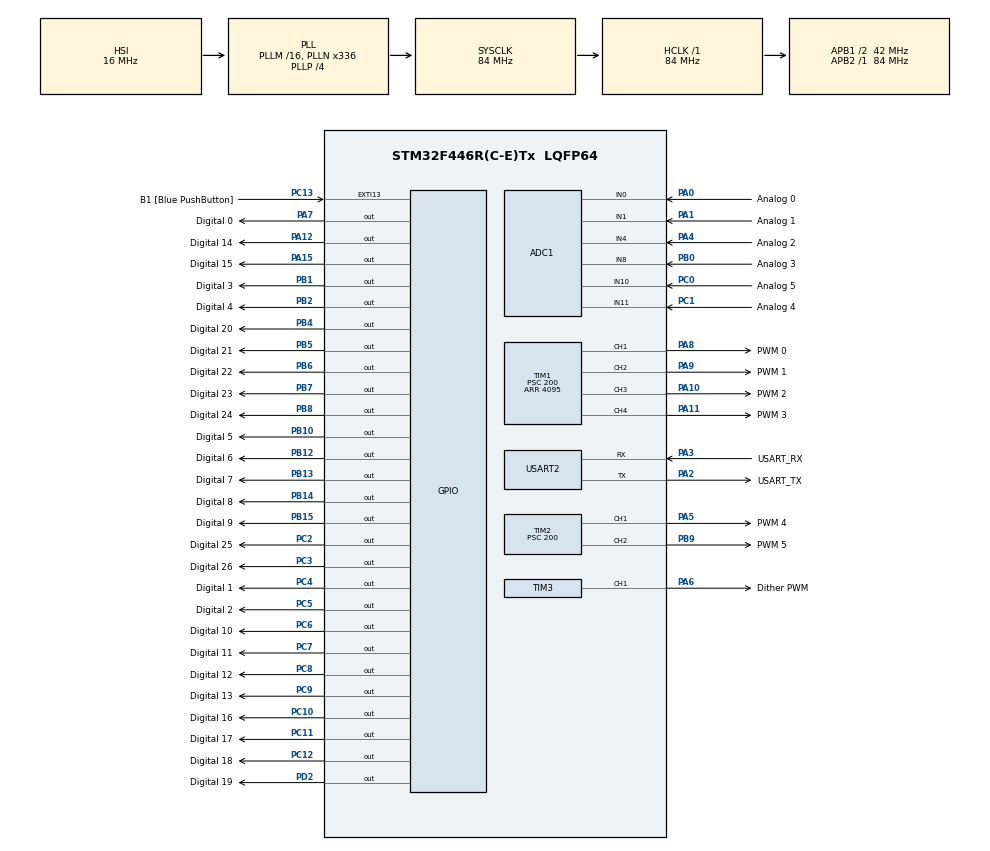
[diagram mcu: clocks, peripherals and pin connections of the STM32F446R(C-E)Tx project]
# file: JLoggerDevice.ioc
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ADC1.Channel-0\#ChannelRegularConversion=ADC_CHANNEL_0
ADC1.Channel-1\#ChannelRegularConversion=ADC_CHANNEL_1
ADC1.Channel-2\#ChannelRegularConversion=ADC_CHANNEL_4
ADC1.Channel-3\#ChannelRegularConversion=ADC_CHANNEL_8
ADC1.Channel-4\#ChannelRegularConversion=ADC_CHANNEL_11
ADC1.Channel-5\#ChannelRegularConversion=ADC_CHANNEL_10
ADC1.ClockPrescaler=ADC_CLOCK_SYNC_PCLK_DIV6
ADC1.ContinuousConvMode=DISABLE
ADC1.DMAContinuousRequests=ENABLE
ADC1.EOCSelection=ADC_EOC_SINGLE_CONV
ADC1.ExternalTrigConv=ADC_EXTERNALTRIGCONV_T8_TRGO
ADC1.NbrOfConversion=6
ADC1.NbrOfConversionFlag=1
ADC1.Rank-0\#ChannelRegularConversion=1
ADC1.Rank-1\#ChannelRegularConversion=2
ADC1.Rank-2\#ChannelRegularConversion=3
ADC1.Rank-3\#ChannelRegularConversion=4
ADC1.Rank-4\#ChannelRegularConversion=5
ADC1.Rank-5\#ChannelRegularConversion=6
ADC1.SamplingTime-0\#ChannelRegularConversion=ADC_SAMPLETIME_144CYCLES
ADC1.SamplingTime-1\#ChannelRegularConversion=ADC_SAMPLETIME_144CYCLES
ADC1.SamplingTime-2\#ChannelRegularConversion=ADC_SAMPLETIME_144CYCLES
ADC1.SamplingTime-3\#ChannelRegularConversion=ADC_SAMPLETIME_144CYCLES
ADC1.SamplingTime-4\#ChannelRegularConversion=ADC_SAMPLETIME_144CYCLES
ADC1.SamplingTime-5\#ChannelRegularConversion=ADC_SAMPLETIME_144CYCLES
ADC1.ScanConvMode=ENABLE
ADC1.master=1
Dma.ADC1.0.Direction=DMA_PERIPH_TO_MEMORY
Dma.ADC1.0.FIFOMode=DMA_FIFOMODE_DISABLE
Dma.ADC1.0.Instance=DMA2_Stream0
Dma.ADC1.0.MemDataAlignment=DMA_MDATAALIGN_WORD
Dma.ADC1.0.MemInc=DMA_MINC_ENABLE
Dma.ADC1.0.Mode=DMA_CIRCULAR
Dma.ADC1.0.PeriphDataAlignment=DMA_PDATAALIGN_WORD
Dma.ADC1.0.PeriphInc=DMA_PINC_DISABLE
Dma.ADC1.0.Priority=DMA_PRIORITY_LOW
Dma.Request0=ADC1
Dma.Request1=USART2_RX
Dma.USART2_RX.1.Direction=DMA_PERIPH_TO_MEMORY
Dma.USART2_RX.1.FIFOMode=DMA_FIFOMODE_DISABLE
Dma.USART2_RX.1.Instance=DMA1_Stream5
Dma.USART2_RX.1.MemDataAlignment=DMA_MDATAALIGN_BYTE
Dma.USART2_RX.1.MemInc=DMA_MINC_ENABLE
Dma.USART2_RX.1.Mode=DMA_NORMAL
Dma.USART2_RX.1.PeriphDataAlignment=DMA_PDATAALIGN_BYTE
Dma.USART2_RX.1.PeriphInc=DMA_PINC_DISABLE
Dma.USART2_RX.1.Priority=DMA_PRIORITY_LOW
Mcu.Family=STM32F4
Mcu.Name=STM32F446R(C-E)Tx
Mcu.Package=LQFP64
NVIC.DMA1_Stream5_IRQn=true\:0\:0\:false\:false\:true\:false\:true
NVIC.DMA2_Stream0_IRQn=true\:0\:0\:false\:false\:true\:false\:true
NVIC.PriorityGroup=NVIC_PRIORITYGROUP_0
PA0-WKUP.GPIO_Label=Analog 0
PA0-WKUP.Signal=ADCx_IN0
PA1.GPIO_Label=Analog 1
PA1.Signal=ADCx_IN1
PA10.GPIO_Label=PWM 2
PA10.Signal=S_TIM1_CH3
PA11.GPIO_Label=PWM 3
PA11.Signal=S_TIM1_CH4
PA12.GPIO_Label=Digital 14
PA12.GPIO_PuPd=GPIO_NOPULL
PA12.Signal=GPIO_Output
PA13.GPIO_Label=TMS
PA13.Mode=Serial_Wire
PA13.Signal=SYS_JTMS-SWDIO
PA14.GPIO_Label=TCK
PA14.Mode=Serial_Wire
PA14.Signal=SYS_JTCK-SWCLK
PA15.GPIO_Label=Digital 15
PA15.Signal=GPIO_Output
PA2.GPIO_Label=USART_TX
PA2.Mode=Asynchronous
PA2.Signal=USART2_TX
PA3.GPIO_Label=USART_RX
PA3.Mode=Asynchronous
PA3.Signal=USART2_RX
PA4.GPIO_Label=Analog 2
PA4.Signal=ADCx_IN4
PA5.GPIO_Label=PWM 4
PA5.Signal=S_TIM2_CH1_ETR
PA6.GPIO_Label=Dither PWM
PA6.Signal=S_TIM3_CH1
PA7.GPIO_Label=Digital 0
PA7.Signal=GPIO_Output
PA8.GPIO_Label=PWM 0
PA8.Signal=S_TIM1_CH1
PA9.GPIO_Label=PWM 1
PA9.Signal=S_TIM1_CH2
PB0.GPIO_Label=Analog 3
PB0.Signal=ADCx_IN8
PB1.GPIO_Label=Digital 3
PB1.Signal=GPIO_Output
PB10.GPIO_Label=Digital 5
PB10.Signal=GPIO_Output
PB12.GPIO_Label=Digital 6
PB12.Signal=GPIO_Output
PB13.GPIO_Label=Digital 7
PB13.Signal=GPIO_Output
PB14.GPIO_Label=Digital 8
PB14.Signal=GPIO_Output
PB15.GPIO_Label=Digital 9
PB15.Signal=GPIO_Output
PB2.GPIO_Label=Digital 4
PB2.Signal=GPIO_Output
PB3.GPIO_Label=SWO
PB3.Signal=SYS_JTDO-SWO
PB4.GPIO_Label=Digital 20
PB4.Signal=GPIO_Output
PB5.GPIO_Label=Digital 21
PB5.Signal=GPIO_Output
PB6.GPIO_Label=Digital 22
PB6.Signal=GPIO_Output
PB7.GPIO_Label=Digital 23
PB7.Signal=GPIO_Output
PB8.GPIO_Label=Digital 24
PB8.Signal=GPIO_Output
PB9.GPIO_Label=PWM 5
PB9.Signal=S_TIM2_CH2
PC0.GPIO_Label=Analog 5
PC0.Signal=ADCx_IN10
PC1.GPIO_Label=Analog 4
PC1.Signal=ADCx_IN11
PC10.GPIO_Label=Digital 16
PC10.Signal=GPIO_Output
PC11.GPIO_Label=Digital 17
PC11.Signal=GPIO_Output
PC12.GPIO_Label=Digital 18
PC12.Signal=GPIO_Output
PC13.GPIO_Label=B1 [Blue PushButton]
PC13.GPIO_ModeDefaultEXTI=GPIO_MODE_IT_FALLING
PC13.Signal=GPXTI13
PC14-OSC32_IN.Mode=LSE-External-Oscillator
PC14-OSC32_IN.Signal=RCC_OSC32_IN
PC15-OSC32_OUT.Mode=LSE-External-Oscillator
PC15-OSC32_OUT.Signal=RCC_OSC32_OUT
PC2.GPIO_Label=Digital 25
PC2.Signal=GPIO_Output
PC3.GPIO_Label=Digital 26
PC3.Signal=GPIO_Output
PC4.GPIO_Label=Digital 1
PC4.Signal=GPIO_Output
PC5.GPIO_Label=Digital 2
PC5.Signal=GPIO_Output
PC6.GPIO_Label=Digital 10
PC6.Signal=GPIO_Output
PC7.GPIO_Label=Digital 11
PC7.Signal=GPIO_Output
PC8.GPIO_Label=Digital 12
PC8.Signal=GPIO_Output
PC9.GPIO_Label=Digital 13
PC9.Signal=GPIO_Output
PD2.GPIO_Label=Digital 19
PD2.Signal=GPIO_Output
PH0-OSC_IN.Mode=HSE-External-Oscillator
PH0-OSC_IN.Signal=RCC_OSC_IN
PH1-OSC_OUT.Mode=HSE-External-Oscillator
PH1-OSC_OUT.Signal=RCC_OSC_OUT
ProjectManager.HeapSize=0x200
ProjectManager.StackSize=0x400
ProjectManager.TargetToolchain=TrueSTUDIO
RCC.48MHZClocksFreq_Value=84000000
RCC.AHBFreq_Value=84000000
RCC.APB1CLKDivider=RCC_HCLK_DIV2
RCC.APB1Freq_Value=42000000
RCC.APB1TimFreq_Value=84000000
RCC.APB2Freq_Value=84000000
RCC.APB2TimFreq_Value=84000000
RCC.CortexFreq_Value=84000000
RCC.FLatency-AdvancedSettings=FLASH_LATENCY_2
RCC.HCLKFreq_Value=84000000
RCC.HSE_VALUE=8000000
RCC.HSI_VALUE=16000000
RCC.PLLN=336
RCC.PLLP=RCC_PLLP_DIV4
RCC.SYSCLKFreq_VALUE=84000000
RCC.SYSCLKSource=RCC_SYSCLKSOURCE_PLLCLK
RCC.USBFreq_Value=168000000
RCC.VCOOutputFreq_Value=336000000
SH.ADCx_IN0.0=ADC1_IN0,IN0
SH.ADCx_IN1.0=ADC1_IN1,IN1
SH.ADCx_IN10.0=ADC1_IN10,IN10
SH.ADCx_IN11.0=ADC1_IN11,IN11
SH.ADCx_IN4.0=ADC1_IN4,IN4
SH.ADCx_IN8.0=ADC1_IN8,IN8
SH.S_TIM1_CH1.0=TIM1_CH1,PWM Generation1 CH1
SH.S_TIM1_CH2.0=TIM1_CH2,PWM Generation2 CH2
SH.S_TIM1_CH3.0=TIM1_CH3,PWM Generation3 CH3
SH.S_TIM1_CH4.0=TIM1_CH4,PWM Generation4 CH4
SH.S_TIM2_CH1_ETR.0=TIM2_CH1,PWM Generation1 CH1
SH.S_TIM2_CH2.0=TIM2_CH2,PWM Generation2 CH2
SH.S_TIM3_CH1.0=TIM3_CH1,PWM Generation1 CH1
TIM1.Channel-PWM\ Generation1\ CH1=TIM_CHANNEL_1
TIM1.Channel-PWM\ Generation2\ CH2=TIM_CHANNEL_2
TIM1.Channel-PWM\ Generation3\ CH3=TIM_CHANNEL_3
TIM1.Channel-PWM\ Generation4\ CH4=TIM_CHANNEL_4
TIM1.Period=4095
TIM1.Prescaler=200
TIM1.Pulse-PWM\ Generation1\ CH1=100
TIM1.Pulse-PWM\ Generation2\ CH2=101
TIM1.Pulse-PWM\ Generation3\ CH3=102
TIM1.Pulse-PWM\ Generation4\ CH4=103
TIM2.Channel-PWM\ Generation1\ CH1=TIM_CHANNEL_1
TIM2.Channel-PWM\ Generation2\ CH2=TIM_CHANNEL_2
TIM2.Period=4095
TIM2.Prescaler=200
TIM2.Pulse-PWM\ Generation1\ CH1=100
TIM2.Pulse-PWM\ Generation2\ CH2=101
TIM3.Channel-PWM\ Generation1\ CH1=TIM_CHANNEL_1
TIM3.Period=4095
TIM3.Prescaler=68
TIM3.Pulse-PWM\ Generation1\ CH1=4095
TIM8.Period=2000
TIM8.Prescaler=84
TIM8.TIM_MasterOutputTrigger=TIM_TRGO_UPDATE
USART2.VirtualMode=VM_ASYNC
VP_TIM1_VS_ClockSourceINT.Mode=Internal
VP_TIM2_VS_ClockSourceINT.Mode=Internal
VP_TIM3_VS_ClockSourceINT.Mode=Internal
VP_TIM8_VS_ClockSourceINT.Mode=Internal
board=NUCLEO-F446RE

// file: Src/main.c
/* USER CODE BEGIN Header */
/**
 ******************************************************************************
 * @file           : main.c
 * @brief          : Main program body
 ******************************************************************************
 * @attention
 *
 * <h2><center>&copy; Copyright (c) 2019 STMicroelectronics.
 * All rights reserved.</center></h2>
 *
 * This software component is licensed by ST under BSD 3-Clause license,
 * the "License"; You may not use this file except in compliance with the
 * License. You may obtain a copy of the License at:
 *                        opensource.org/licenses/BSD-3-Clause
 *
 ******************************************************************************
 */
/* USER CODE END Header */

#include "main.h"

ADC_HandleTypeDef hadc1;
DMA_HandleTypeDef hdma_adc1;

TIM_HandleTypeDef htim1;
TIM_HandleTypeDef htim2;
TIM_HandleTypeDef htim3;
TIM_HandleTypeDef htim8;

UART_HandleTypeDef huart2;
DMA_HandleTypeDef hdma_usart2_rx;

void SystemClock_Config(void);
static void MX_GPIO_Init(void);
static void MX_DMA_Init(void);
static void MX_ADC1_Init(void);
static void MX_TIM1_Init(void);
static void MX_TIM2_Init(void);
static void MX_TIM3_Init(void);
static void MX_TIM8_Init(void);
static void MX_USART2_UART_Init(void);

/* USER CODE BEGIN 0 */

// This is for ADC, RX, TX buffer
uint32_t ADCValues[6];
uint8_t RXData[12+27+1]; // 12 = sliders, 27 = digitals, 1 = send state
uint8_t TXData[12];

/* USER CODE END 0 */

int main(void)
{

  /* MCU Configuration--------------------------------------------------------*/

  /* Reset of all peripherals, Initializes the Flash interface and the Systick. */
  HAL_Init();

  /* Configure the system clock */
  SystemClock_Config();

  /* Initialize all configured peripherals */
  MX_GPIO_Init();
  MX_DMA_Init();
  MX_ADC1_Init();
  MX_TIM1_Init();
  MX_TIM2_Init();
  MX_TIM3_Init();
  MX_TIM8_Init();
  MX_USART2_UART_Init();
  /* USER CODE BEGIN 2 */

	// Enable ADC1 AND UART RX with DMA
	HAL_ADC_Start_DMA(&hadc1, ADCValues, sizeof(ADCValues)/sizeof(ADCValues[0]));
	HAL_UART_Receive_DMA(&huart2, RXData, sizeof(RXData)/sizeof(RXData[0]));

	// Start timers
	HAL_TIM_PWM_Start(&htim1, TIM_CHANNEL_1); // PWM output 0
	HAL_TIM_PWM_Start(&htim1, TIM_CHANNEL_2); // PWM output 1
	HAL_TIM_PWM_Start(&htim1, TIM_CHANNEL_3); // PWM output 2
	HAL_TIM_PWM_Start(&htim1, TIM_CHANNEL_4); // PWM output 3

	HAL_TIM_PWM_Start(&htim2, TIM_CHANNEL_1); // PWM output 4
	HAL_TIM_PWM_Start(&htim2, TIM_CHANNEL_2); // PWM output 5

	HAL_TIM_PWM_Start(&htim3, TIM_CHANNEL_1); // For dither frequency

	HAL_TIM_PWM_Start(&htim8, TIM_CHANNEL_1); // For ADC trig event -> scan

	// Set the PWM outputs to 0
	htim1.Instance->CCR1 = 0;
	htim1.Instance->CCR2 = 0;
	htim1.Instance->CCR3 = 0;
	htim1.Instance->CCR4 = 0;

	htim2.Instance->CCR1 = 0; // Set this to 4095 and green LED will light up
	htim2.Instance->CCR2 = 0;

	htim3.Instance->CCR1 = 0;

	htim8.Instance->CCR1 = 0;

  /* USER CODE END 2 */

  /* Infinite loop */
	while (1) {

	}
}

void SystemClock_Config(void)
{
  RCC_OscInitTypeDef RCC_OscInitStruct = {0};
  RCC_ClkInitTypeDef RCC_ClkInitStruct = {0};

  /** Configure the main internal regulator output voltage
  */
  __HAL_RCC_PWR_CLK_ENABLE();
  __HAL_PWR_VOLTAGESCALING_CONFIG(PWR_REGULATOR_VOLTAGE_SCALE3);
  /** Initializes the CPU, AHB and APB busses clocks
  */
  RCC_OscInitStruct.OscillatorType = RCC_OSCILLATORTYPE_HSI;
  RCC_OscInitStruct.HSIState = RCC_HSI_ON;
  RCC_OscInitStruct.HSICalibrationValue = RCC_HSICALIBRATION_DEFAULT;
  RCC_OscInitStruct.PLL.PLLState = RCC_PLL_ON;
  RCC_OscInitStruct.PLL.PLLSource = RCC_PLLSOURCE_HSI;
  RCC_OscInitStruct.PLL.PLLM = 16;
  RCC_OscInitStruct.PLL.PLLN = 336;
  RCC_OscInitStruct.PLL.PLLP = RCC_PLLP_DIV4;
  RCC_OscInitStruct.PLL.PLLQ = 2;
  RCC_OscInitStruct.PLL.PLLR = 2;
  if (HAL_RCC_OscConfig(&RCC_OscInitStruct) != HAL_OK)
  {
    Error_Handler();
  }
  /** Initializes the CPU, AHB and APB busses clocks
  */
  RCC_ClkInitStruct.ClockType = RCC_CLOCKTYPE_HCLK|RCC_CLOCKTYPE_SYSCLK
                              |RCC_CLOCKTYPE_PCLK1|RCC_CLOCKTYPE_PCLK2;
  RCC_ClkInitStruct.SYSCLKSource = RCC_SYSCLKSOURCE_PLLCLK;
  RCC_ClkInitStruct.AHBCLKDivider = RCC_SYSCLK_DIV1;
  RCC_ClkInitStruct.APB1CLKDivider = RCC_HCLK_DIV2;
  RCC_ClkInitStruct.APB2CLKDivider = RCC_HCLK_DIV1;

  if (HAL_RCC_ClockConfig(&RCC_ClkInitStruct, FLASH_LATENCY_2) != HAL_OK)
  {
    Error_Handler();
  }
}

static void MX_ADC1_Init(void)
{

  ADC_ChannelConfTypeDef sConfig = {0};

  /** Configure the global features of the ADC (Clock, Resolution, Data Alignment and number of conversion)
  */
  hadc1.Instance = ADC1;
  hadc1.Init.ClockPrescaler = ADC_CLOCK_SYNC_PCLK_DIV6;
  hadc1.Init.Resolution = ADC_RESOLUTION_12B;
  hadc1.Init.ScanConvMode = ENABLE;
  hadc1.Init.ContinuousConvMode = DISABLE;
  hadc1.Init.DiscontinuousConvMode = DISABLE;
  hadc1.Init.ExternalTrigConvEdge = ADC_EXTERNALTRIGCONVEDGE_RISING;
  hadc1.Init.ExternalTrigConv = ADC_EXTERNALTRIGCONV_T8_TRGO;
  hadc1.Init.DataAlign = ADC_DATAALIGN_RIGHT;
  hadc1.Init.NbrOfConversion = 6;
  hadc1.Init.DMAContinuousRequests = ENABLE;
  hadc1.Init.EOCSelection = ADC_EOC_SINGLE_CONV;
  if (HAL_ADC_Init(&hadc1) != HAL_OK)
  {
    Error_Handler();
  }
  /** Configure for the selected ADC regular channel its corresponding rank in the sequencer and its sample time.
  */
  sConfig.Channel = ADC_CHANNEL_0;
  sConfig.Rank = 1;
  sConfig.SamplingTime = ADC_SAMPLETIME_144CYCLES;
  if (HAL_ADC_ConfigChannel(&hadc1, &sConfig) != HAL_OK)
  {
    Error_Handler();
  }
  /** Configure for the selected ADC regular channel its corresponding rank in the sequencer and its sample time.
  */
  sConfig.Channel = ADC_CHANNEL_1;
  sConfig.Rank = 2;
  if (HAL_ADC_ConfigChannel(&hadc1, &sConfig) != HAL_OK)
  {
    Error_Handler();
  }
  /** Configure for the selected ADC regular channel its corresponding rank in the sequencer and its sample time.
  */
  sConfig.Channel = ADC_CHANNEL_4;
  sConfig.Rank = 3;
  if (HAL_ADC_ConfigChannel(&hadc1, &sConfig) != HAL_OK)
  {
    Error_Handler();
  }
  /** Configure for the selected ADC regular channel its corresponding rank in the sequencer and its sample time.
  */
  sConfig.Channel = ADC_CHANNEL_8;
  sConfig.Rank = 4;
  if (HAL_ADC_ConfigChannel(&hadc1, &sConfig) != HAL_OK)
  {
    Error_Handler();
  }
  /** Configure for the selected ADC regular channel its corresponding rank in the sequencer and its sample time.
  */
  sConfig.Channel = ADC_CHANNEL_11;
  sConfig.Rank = 5;
  if (HAL_ADC_ConfigChannel(&hadc1, &sConfig) != HAL_OK)
  {
    Error_Handler();
  }
  /** Configure for the selected ADC regular channel its corresponding rank in the sequencer and its sample time.
  */
  sConfig.Channel = ADC_CHANNEL_10;
  sConfig.Rank = 6;
  if (HAL_ADC_ConfigChannel(&hadc1, &sConfig) != HAL_OK)
  {
    Error_Handler();
  }

}

static void MX_TIM1_Init(void)
{

  TIM_ClockConfigTypeDef sClockSourceConfig = {0};
  TIM_MasterConfigTypeDef sMasterConfig = {0};
  TIM_OC_InitTypeDef sConfigOC = {0};
  TIM_BreakDeadTimeConfigTypeDef sBreakDeadTimeConfig = {0};

  htim1.Instance = TIM1;
  htim1.Init.Prescaler = 200;
  htim1.Init.CounterMode = TIM_COUNTERMODE_UP;
  htim1.Init.Period = 4095;
  htim1.Init.ClockDivision = TIM_CLOCKDIVISION_DIV1;
  htim1.Init.RepetitionCounter = 0;
  htim1.Init.AutoReloadPreload = TIM_AUTORELOAD_PRELOAD_DISABLE;
  if (HAL_TIM_Base_Init(&htim1) != HAL_OK)
  {
    Error_Handler();
  }
  sClockSourceConfig.ClockSource = TIM_CLOCKSOURCE_INTERNAL;
  if (HAL_TIM_ConfigClockSource(&htim1, &sClockSourceConfig) != HAL_OK)
  {
    Error_Handler();
  }
  if (HAL_TIM_PWM_Init(&htim1) != HAL_OK)
  {
    Error_Handler();
  }
  sMasterConfig.MasterOutputTrigger = TIM_TRGO_RESET;
  sMasterConfig.MasterSlaveMode = TIM_MASTERSLAVEMODE_DISABLE;
  if (HAL_TIMEx_MasterConfigSynchronization(&htim1, &sMasterConfig) != HAL_OK)
  {
    Error_Handler();
  }
  sConfigOC.OCMode = TIM_OCMODE_PWM1;
  sConfigOC.Pulse = 100;
  sConfigOC.OCPolarity = TIM_OCPOLARITY_HIGH;
  sConfigOC.OCNPolarity = TIM_OCNPOLARITY_HIGH;
  sConfigOC.OCFastMode = TIM_OCFAST_DISABLE;
  sConfigOC.OCIdleState = TIM_OCIDLESTATE_RESET;
  sConfigOC.OCNIdleState = TIM_OCNIDLESTATE_RESET;
  if (HAL_TIM_PWM_ConfigChannel(&htim1, &sConfigOC, TIM_CHANNEL_1) != HAL_OK)
  {
    Error_Handler();
  }
  sConfigOC.Pulse = 101;
  if (HAL_TIM_PWM_ConfigChannel(&htim1, &sConfigOC, TIM_CHANNEL_2) != HAL_OK)
  {
    Error_Handler();
  }
  sConfigOC.Pulse = 102;
  if (HAL_TIM_PWM_ConfigChannel(&htim1, &sConfigOC, TIM_CHANNEL_3) != HAL_OK)
  {
    Error_Handler();
  }
  sConfigOC.Pulse = 103;
  if (HAL_TIM_PWM_ConfigChannel(&htim1, &sConfigOC, TIM_CHANNEL_4) != HAL_OK)
  {
    Error_Handler();
  }
  sBreakDeadTimeConfig.OffStateRunMode = TIM_OSSR_DISABLE;
  sBreakDeadTimeConfig.OffStateIDLEMode = TIM_OSSI_DISABLE;
  sBreakDeadTimeConfig.LockLevel = TIM_LOCKLEVEL_OFF;
  sBreakDeadTimeConfig.DeadTime = 0;
  sBreakDeadTimeConfig.BreakState = TIM_BREAK_DISABLE;
  sBreakDeadTimeConfig.BreakPolarity = TIM_BREAKPOLARITY_HIGH;
  sBreakDeadTimeConfig.AutomaticOutput = TIM_AUTOMATICOUTPUT_DISABLE;
  if (HAL_TIMEx_ConfigBreakDeadTime(&htim1, &sBreakDeadTimeConfig) != HAL_OK)
  {
    Error_Handler();
  }
  HAL_TIM_MspPostInit(&htim1);

}

static void MX_TIM2_Init(void)
{

  TIM_ClockConfigTypeDef sClockSourceConfig = {0};
  TIM_MasterConfigTypeDef sMasterConfig = {0};
  TIM_OC_InitTypeDef sConfigOC = {0};

  htim2.Instance = TIM2;
  htim2.Init.Prescaler = 200;
  htim2.Init.CounterMode = TIM_COUNTERMODE_UP;
  htim2.Init.Period = 4095;
  htim2.Init.ClockDivision = TIM_CLOCKDIVISION_DIV1;
  htim2.Init.AutoReloadPreload = TIM_AUTORELOAD_PRELOAD_DISABLE;
  if (HAL_TIM_Base_Init(&htim2) != HAL_OK)
  {
    Error_Handler();
  }
  sClockSourceConfig.ClockSource = TIM_CLOCKSOURCE_INTERNAL;
  if (HAL_TIM_ConfigClockSource(&htim2, &sClockSourceConfig) != HAL_OK)
  {
    Error_Handler();
  }
  if (HAL_TIM_PWM_Init(&htim2) != HAL_OK)
  {
    Error_Handler();
  }
  sMasterConfig.MasterOutputTrigger = TIM_TRGO_RESET;
  sMasterConfig.MasterSlaveMode = TIM_MASTERSLAVEMODE_DISABLE;
  if (HAL_TIMEx_MasterConfigSynchronization(&htim2, &sMasterConfig) != HAL_OK)
  {
    Error_Handler();
  }
  sConfigOC.OCMode = TIM_OCMODE_PWM1;
  sConfigOC.Pulse = 100;
  sConfigOC.OCPolarity = TIM_OCPOLARITY_HIGH;
  sConfigOC.OCFastMode = TIM_OCFAST_DISABLE;
  if (HAL_TIM_PWM_ConfigChannel(&htim2, &sConfigOC, TIM_CHANNEL_1) != HAL_OK)
  {
    Error_Handler();
  }
  sConfigOC.Pulse = 101;
  if (HAL_TIM_PWM_ConfigChannel(&htim2, &sConfigOC, TIM_CHANNEL_2) != HAL_OK)
  {
    Error_Handler();
  }
  HAL_TIM_MspPostInit(&htim2);

}

static void MX_TIM3_Init(void)
{

  TIM_ClockConfigTypeDef sClockSourceConfig = {0};
  TIM_MasterConfigTypeDef sMasterConfig = {0};
  TIM_OC_InitTypeDef sConfigOC = {0};

  htim3.Instance = TIM3;
  htim3.Init.Prescaler = 68;
  htim3.Init.CounterMode = TIM_COUNTERMODE_UP;
  htim3.Init.Period = 4095;
  htim3.Init.ClockDivision = TIM_CLOCKDIVISION_DIV1;
  htim3.Init.AutoReloadPreload = TIM_AUTORELOAD_PRELOAD_DISABLE;
  if (HAL_TIM_Base_Init(&htim3) != HAL_OK)
  {
    Error_Handler();
  }
  sClockSourceConfig.ClockSource = TIM_CLOCKSOURCE_INTERNAL;
  if (HAL_TIM_ConfigClockSource(&htim3, &sClockSourceConfig) != HAL_OK)
  {
    Error_Handler();
  }
  if (HAL_TIM_PWM_Init(&htim3) != HAL_OK)
  {
    Error_Handler();
  }
  sMasterConfig.MasterOutputTrigger = TIM_TRGO_RESET;
  sMasterConfig.MasterSlaveMode = TIM_MASTERSLAVEMODE_DISABLE;
  if (HAL_TIMEx_MasterConfigSynchronization(&htim3, &sMasterConfig) != HAL_OK)
  {
    Error_Handler();
  }
  sConfigOC.OCMode = TIM_OCMODE_PWM1;
  sConfigOC.Pulse = 4095;
  sConfigOC.OCPolarity = TIM_OCPOLARITY_HIGH;
  sConfigOC.OCFastMode = TIM_OCFAST_DISABLE;
  if (HAL_TIM_PWM_ConfigChannel(&htim3, &sConfigOC, TIM_CHANNEL_1) != HAL_OK)
  {
    Error_Handler();
  }
  HAL_TIM_MspPostInit(&htim3);

}

static void MX_TIM8_Init(void)
{

  TIM_ClockConfigTypeDef sClockSourceConfig = {0};
  TIM_MasterConfigTypeDef sMasterConfig = {0};

  htim8.Instance = TIM8;
  htim8.Init.Prescaler = 84;
  htim8.Init.CounterMode = TIM_COUNTERMODE_UP;
  htim8.Init.Period = 2000;
  htim8.Init.ClockDivision = TIM_CLOCKDIVISION_DIV1;
  htim8.Init.RepetitionCounter = 0;
  htim8.Init.AutoReloadPreload = TIM_AUTORELOAD_PRELOAD_DISABLE;
  if (HAL_TIM_Base_Init(&htim8) != HAL_OK)
  {
    Error_Handler();
  }
  sClockSourceConfig.ClockSource = TIM_CLOCKSOURCE_INTERNAL;
  if (HAL_TIM_ConfigClockSource(&htim8, &sClockSourceConfig) != HAL_OK)
  {
    Error_Handler();
  }
  sMasterConfig.MasterOutputTrigger = TIM_TRGO_UPDATE;
  sMasterConfig.MasterSlaveMode = TIM_MASTERSLAVEMODE_DISABLE;
  if (HAL_TIMEx_MasterConfigSynchronization(&htim8, &sMasterConfig) != HAL_OK)
  {
    Error_Handler();
  }

}

static void MX_USART2_UART_Init(void)
{

  huart2.Instance = USART2;
  huart2.Init.BaudRate = 115200;
  huart2.Init.WordLength = UART_WORDLENGTH_8B;
  huart2.Init.StopBits = UART_STOPBITS_1;
  huart2.Init.Parity = UART_PARITY_NONE;
  huart2.Init.Mode = UART_MODE_TX_RX;
  huart2.Init.HwFlowCtl = UART_HWCONTROL_NONE;
  huart2.Init.OverSampling = UART_OVERSAMPLING_16;
  if (HAL_UART_Init(&huart2) != HAL_OK)
  {
    Error_Handler();
  }

}

static void MX_DMA_Init(void)
{

  /* DMA controller clock enable */
  __HAL_RCC_DMA2_CLK_ENABLE();
  __HAL_RCC_DMA1_CLK_ENABLE();

  /* DMA interrupt init */
  /* DMA1_Stream5_IRQn interrupt configuration */
  HAL_NVIC_SetPriority(DMA1_Stream5_IRQn, 0, 0);
  HAL_NVIC_EnableIRQ(DMA1_Stream5_IRQn);
  /* DMA2_Stream0_IRQn interrupt configuration */
  HAL_NVIC_SetPriority(DMA2_Stream0_IRQn, 0, 0);
  HAL_NVIC_EnableIRQ(DMA2_Stream0_IRQn);

}

static void MX_GPIO_Init(void)
{
  GPIO_InitTypeDef GPIO_InitStruct = {0};

  /* GPIO Ports Clock Enable */
  __HAL_RCC_GPIOC_CLK_ENABLE();
  __HAL_RCC_GPIOH_CLK_ENABLE();
  __HAL_RCC_GPIOA_CLK_ENABLE();
  __HAL_RCC_GPIOB_CLK_ENABLE();
  __HAL_RCC_GPIOD_CLK_ENABLE();

  /*Configure GPIO pin Output Level */
  HAL_GPIO_WritePin(GPIOC, Digital_25_Pin|Digital_26_Pin|Digital_1_Pin|Digital_2_Pin
                          |Digital_11_Pin|Digital_12_Pin|Digital_12C8_Pin|Digital_13_Pin
                          |Digital_16_Pin|Digital_17_Pin|Digital_18_Pin, GPIO_PIN_RESET);

  /*Configure GPIO pin Output Level */
  HAL_GPIO_WritePin(GPIOA, Digital_0_Pin|Digital_14_Pin|Digital_15_Pin, GPIO_PIN_RESET);

  /*Configure GPIO pin Output Level */
  HAL_GPIO_WritePin(GPIOB, Digital_4_Pin|Digital_5_Pin|Digital_6_Pin|Digital_7_Pin
                          |Digital_8_Pin|Digital_9_Pin|Digital_10_Pin|Digital_20_Pin
                          |Digital_21_Pin|Digital_22_Pin|Digital_23_Pin|Digital_24_Pin, GPIO_PIN_RESET);

  /*Configure GPIO pin Output Level */
  HAL_GPIO_WritePin(Digital_19_GPIO_Port, Digital_19_Pin, GPIO_PIN_RESET);

  /*Configure GPIO pin : B1_Pin */
  GPIO_InitStruct.Pin = B1_Pin;
  GPIO_InitStruct.Mode = GPIO_MODE_IT_FALLING;
  GPIO_InitStruct.Pull = GPIO_NOPULL;
  HAL_GPIO_Init(B1_GPIO_Port, &GPIO_InitStruct);

  /*Configure GPIO pins : Digital_25_Pin Digital_26_Pin Digital_1_Pin Digital_2_Pin
                           Digital_11_Pin Digital_12_Pin Digital_12C8_Pin Digital_13_Pin
                           Digital_16_Pin Digital_17_Pin Digital_18_Pin */
  GPIO_InitStruct.Pin = Digital_25_Pin|Digital_26_Pin|Digital_1_Pin|Digital_2_Pin
                          |Digital_11_Pin|Digital_12_Pin|Digital_12C8_Pin|Digital_13_Pin
                          |Digital_16_Pin|Digital_17_Pin|Digital_18_Pin;
  GPIO_InitStruct.Mode = GPIO_MODE_OUTPUT_PP;
  GPIO_InitStruct.Pull = GPIO_NOPULL;
  GPIO_InitStruct.Speed = GPIO_SPEED_FREQ_LOW;
  HAL_GPIO_Init(GPIOC, &GPIO_InitStruct);

  /*Configure GPIO pins : Digital_0_Pin Digital_14_Pin Digital_15_Pin */
  GPIO_InitStruct.Pin = Digital_0_Pin|Digital_14_Pin|Digital_15_Pin;
  GPIO_InitStruct.Mode = GPIO_MODE_OUTPUT_PP;
  GPIO_InitStruct.Pull = GPIO_NOPULL;
  GPIO_InitStruct.Speed = GPIO_SPEED_FREQ_LOW;
  HAL_GPIO_Init(GPIOA, &GPIO_InitStruct);

  /*Configure GPIO pins : Digital_4_Pin Digital_5_Pin Digital_6_Pin Digital_7_Pin
                           Digital_8_Pin Digital_9_Pin Digital_10_Pin Digital_20_Pin
                           Digital_21_Pin Digital_22_Pin Digital_23_Pin Digital_24_Pin */
  GPIO_InitStruct.Pin = Digital_4_Pin|Digital_5_Pin|Digital_6_Pin|Digital_7_Pin
                          |Digital_8_Pin|Digital_9_Pin|Digital_10_Pin|Digital_20_Pin
                          |Digital_21_Pin|Digital_22_Pin|Digital_23_Pin|Digital_24_Pin;
  GPIO_InitStruct.Mode = GPIO_MODE_OUTPUT_PP;
  GPIO_InitStruct.Pull = GPIO_NOPULL;
  GPIO_InitStruct.Speed = GPIO_SPEED_FREQ_LOW;
  HAL_GPIO_Init(GPIOB, &GPIO_InitStruct);

  /*Configure GPIO pin : Digital_19_Pin */
  GPIO_InitStruct.Pin = Digital_19_Pin;
  GPIO_InitStruct.Mode = GPIO_MODE_OUTPUT_PP;
  GPIO_InitStruct.Pull = GPIO_NOPULL;
  GPIO_InitStruct.Speed = GPIO_SPEED_FREQ_LOW;
  HAL_GPIO_Init(Digital_19_GPIO_Port, &GPIO_InitStruct);

}

/* USER CODE BEGIN 4 */

/*
 * When we get our message, in this case it will be sizeof(RXData)/sizeof(RXData[0]) bytes of slider inputs.
 * This method will be called
 */
void HAL_UART_RxCpltCallback(UART_HandleTypeDef *huart) {

	// Check if we are going to ONLY set PWM's(0) or set digitals(1). Last RXData have the send state element
	uint8_t send_state = RXData[sizeof(RXData)/sizeof(RXData[0]) - 1];
	if(send_state == 0){
		// Set PWM counters period by convert short -> byte
		htim1.Instance->CCR1 = (uint32_t) ((RXData[0] << 8) | RXData[1]);
		htim1.Instance->CCR2 = (uint32_t) ((RXData[2] << 8) | RXData[3]);
		htim1.Instance->CCR3 = (uint32_t) ((RXData[4] << 8) | RXData[5]);
		htim1.Instance->CCR4 = (uint32_t) ((RXData[6] << 8) | RXData[7]);
		htim2.Instance->CCR1 = (uint32_t) ((RXData[8] << 8) | RXData[9]);
		htim2.Instance->CCR2 = (uint32_t) ((RXData[10] << 8) | RXData[11]);
	}else if(send_state == 1){
		// For digitals only - We start at index 13, which is position 12
		for(uint8_t i = 12; i < sizeof(RXData)/sizeof(RXData[0]); i++){
			if(i == 12){ 	   // Digital 0
				HAL_GPIO_WritePin(GPIOA, GPIO_PIN_7, RXData[i]); //RXData[i] = One or Zero
			}else if(i == 13){ // Digital 1
				HAL_GPIO_WritePin(GPIOC, GPIO_PIN_4, RXData[i]);
			}else if(i == 14){ // Digital 2
				HAL_GPIO_WritePin(GPIOC, GPIO_PIN_5, RXData[i]);
			}else if(i == 15){ // Digital 3
				HAL_GPIO_WritePin(GPIOB, GPIO_PIN_1, RXData[i]);
			}else if(i == 16){ // Digital 4
				HAL_GPIO_WritePin(GPIOB, GPIO_PIN_2, RXData[i]);
			}else if(i == 17){ // Digital 5
				HAL_GPIO_WritePin(GPIOB, GPIO_PIN_10, RXData[i]);
			}else if(i == 18){ // Digital 6
				HAL_GPIO_WritePin(GPIOB, GPIO_PIN_12, RXData[i]);
			}else if(i == 19){ // Digital 7
				HAL_GPIO_WritePin(GPIOB, GPIO_PIN_13, RXData[i]);
			}else if(i == 20){ // Digital 8
				HAL_GPIO_WritePin(GPIOB, GPIO_PIN_14, RXData[i]);
			}else if(i == 21){ // Digital 9
				HAL_GPIO_WritePin(GPIOB, GPIO_PIN_15, RXData[i]);
			}else if(i == 22){ // Digital 10
				HAL_GPIO_WritePin(GPIOC, GPIO_PIN_6, RXData[i]);
			}else if(i == 23){ // Digital 11
				HAL_GPIO_WritePin(GPIOC, GPIO_PIN_7, RXData[i]);
			}else if(i == 24){ // Digital 12
				HAL_GPIO_WritePin(GPIOC, GPIO_PIN_8, RXData[i]);
			}else if(i == 25){ // Digital 13
				HAL_GPIO_WritePin(GPIOC, GPIO_PIN_9, RXData[i]);
			}else if(i == 26){ // Digital 14
				HAL_GPIO_WritePin(GPIOA, GPIO_PIN_12, RXData[i]);
			}else if(i == 27){ // Digital 15
				HAL_GPIO_WritePin(GPIOA, GPIO_PIN_15, RXData[i]);
			}else if(i == 28){ // Digital 16
				HAL_GPIO_WritePin(GPIOC, GPIO_PIN_10, RXData[i]);
			}else if(i == 29){ // Digital 17
				HAL_GPIO_WritePin(GPIOC, GPIO_PIN_11, RXData[i]);
			}else if(i == 30){ // Digital 18
				HAL_GPIO_WritePin(GPIOC, GPIO_PIN_12, RXData[i]);
			}else if(i == 31){ // Digital 19
				HAL_GPIO_WritePin(GPIOD, GPIO_PIN_2, RXData[i]);
			}else if(i == 32){ // Digital 20
				HAL_GPIO_WritePin(GPIOB, GPIO_PIN_4, RXData[i]);
			}else if(i == 33){ // Digital 21
				HAL_GPIO_WritePin(GPIOB, GPIO_PIN_5, RXData[i]);
			}else if(i == 34){ // Digital 22
				HAL_GPIO_WritePin(GPIOB, GPIO_PIN_6, RXData[i]);
			}else if(i == 35){ // Digital 23
				HAL_GPIO_WritePin(GPIOB, GPIO_PIN_7, RXData[i]);
			}else if(i == 36){ // Digital 24
				HAL_GPIO_WritePin(GPIOB, GPIO_PIN_8, RXData[i]);
			}else if(i == 37){ // Digital 25
				HAL_GPIO_WritePin(GPIOC, GPIO_PIN_2, RXData[i]);
			}else if(i == 38){ // Digital 26
				HAL_GPIO_WritePin(GPIOC, GPIO_PIN_3, RXData[i]);
			}
		}
	}

	// Convert ADC values to
	TXData[0] = (uint8_t) (ADCValues[0] >> 8);
	TXData[1] = (uint8_t) (ADCValues[0] & 0xFF);
	TXData[2] = (uint8_t) (ADCValues[1] >> 8);
	TXData[3] = (uint8_t) (ADCValues[1] & 0xFF);
	TXData[4] = (uint8_t) (ADCValues[2] >> 8);
	TXData[5] = (uint8_t) (ADCValues[2] & 0xFF);
	TXData[6] = (uint8_t) (ADCValues[3] >> 8);
	TXData[7] = (uint8_t) (ADCValues[3] & 0xFF);
	TXData[8] = (uint8_t) (ADCValues[4] >> 8);
	TXData[9] = (uint8_t) (ADCValues[4] & 0xFF);
	TXData[10] = (uint8_t) (ADCValues[5] >> 8);
	TXData[11] = (uint8_t) (ADCValues[5] & 0xFF);

	// Send data to JLoggerServer in about 5 milliseconds
	HAL_UART_Transmit(&huart2, TXData, sizeof(TXData)/sizeof(TXData[0]), 5);

	// Listen for a new receive
	HAL_UART_Receive_DMA(&huart2, RXData, sizeof(RXData)/sizeof(RXData[0]));

}
/* USER CODE END 4 */

void Error_Handler(void)
{
}

/************************ (C) COPYRIGHT STMicroelectronics *****END OF FILE****/
